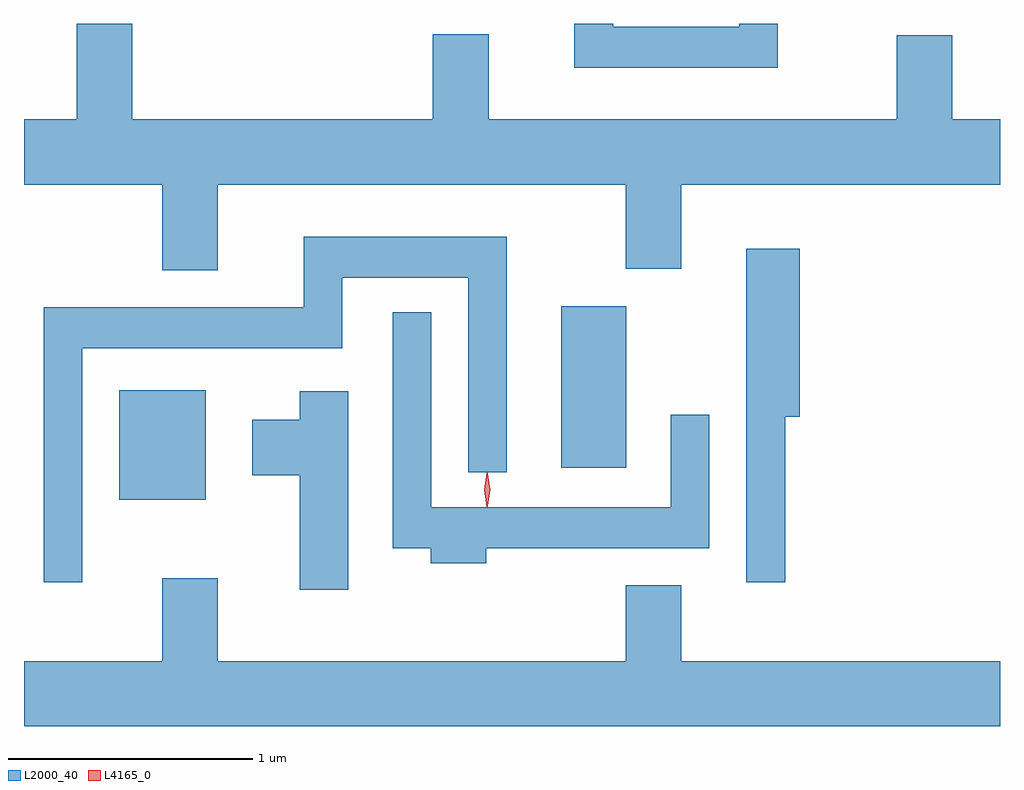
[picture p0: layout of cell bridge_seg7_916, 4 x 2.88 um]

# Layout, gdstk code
import gdstk
lib = gdstk.Library(unit=1e-6, precision=1e-09)
def R(c, l, rs):  # rectangles x0, y0, x1, y1
    for r in rs: c.add(gdstk.rectangle(r[:2], r[2:], *l))
def P(c, l, *ps):  # polygons
    for p in ps: c.add(gdstk.Polygon(p, *l))
L2000_40 = (2000, 40)
L4165_0 = (4165, 0)

bridge_seg7_916 = lib.new_cell('bridge_seg7_916')
R(bridge_seg7_916, L2000_40, [(487.246,1735.226,487.599,1735.674), (489.056,1735.356,489.324,1736.019)])
P(bridge_seg7_916, L2000_40, [(487.649,1736.516),(489.321,1736.516),(489.321,1736.171),(489.549,1736.171),(489.549,1736.516),(490.855,1736.516),(490.855,1736.784),(490.659,1736.784),(490.659,1737.129),(490.431,1737.129),(490.431,1736.784),(488.759,1736.784),(488.759,1737.134),(488.531,1737.134),(488.531,1736.784),(487.299,1736.784),(487.299,1737.177),(487.071,1737.177),(487.071,1736.784),(486.855,1736.784),(486.855,1736.516),(487.421,1736.516),(487.421,1736.166),(487.649,1736.166)],
  [(489.944,1737.177),(489.786,1737.177),(489.786,1737.164),(489.269,1737.164),(489.269,1737.177),(489.111,1737.177),(489.111,1736.996),(489.944,1736.996)],
  [(487.094,1735.846),(488.159,1735.846),(488.159,1736.136),(488.676,1736.136),(488.676,1735.338),(488.834,1735.338),(488.834,1736.304),(488.001,1736.304),(488.001,1736.014),(486.936,1736.014),(486.936,1734.888),(487.094,1734.888)],
  [(489.974,1735.566),(490.034,1735.566),(490.034,1736.254),(489.816,1736.254),(489.816,1734.888),(489.974,1734.888)],
  [(488.749,1735.026),(489.664,1735.026),(489.664,1735.573),(489.506,1735.573),(489.506,1735.194),(488.524,1735.194),(488.524,1735.993),(488.366,1735.993),(488.366,1735.026),(488.521,1735.026),(488.521,1734.966),(488.749,1734.966)],
  [(488.184,1735.669),(487.986,1735.669),(487.986,1735.554),(487.791,1735.554),(487.791,1735.326),(487.986,1735.326),(487.986,1734.856),(488.184,1734.856)],
  [(490.855,1734.564),(489.549,1734.564),(489.549,1734.874),(489.321,1734.874),(489.321,1734.564),(487.649,1734.564),(487.649,1734.904),(487.421,1734.904),(487.421,1734.564),(486.855,1734.564),(486.855,1734.296),(490.855,1734.296)])
P(bridge_seg7_916, L4165_0, [(488.752,1735.197),(488.752,1735.197),(488.742,1735.267),(488.752,1735.336),(488.752,1735.336),(488.753,1735.336),(488.762,1735.267),(488.753,1735.197)],
  [(488.756,1735.199),(488.755,1735.2),(488.746,1735.266),(488.755,1735.332),(488.756,1735.333),(488.756,1735.332),(488.766,1735.266),(488.756,1735.2)])

lib.write_gds('bridge_seg7_916.gds')
